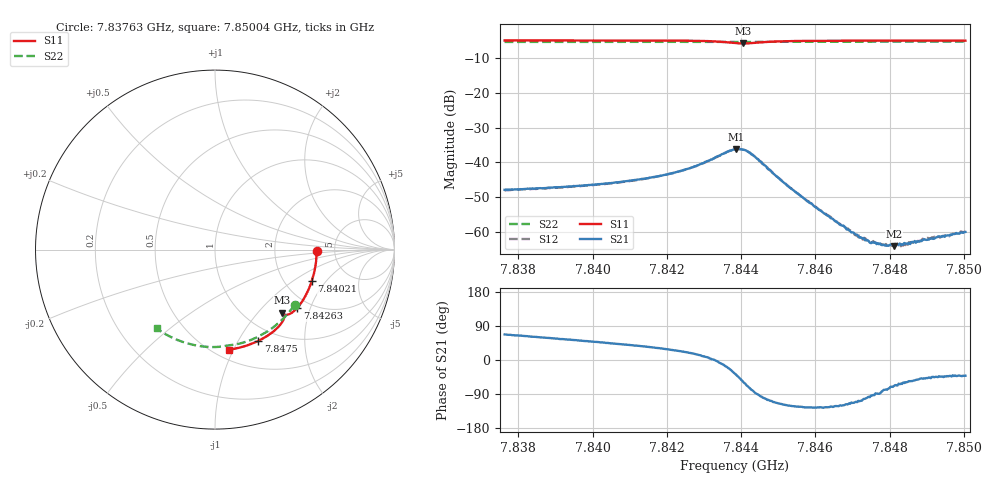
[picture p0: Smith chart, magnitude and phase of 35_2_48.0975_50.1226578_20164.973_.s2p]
#  HZ  S  RI  R  50.00
! Rohde & Schwarz Vector Network Analyzer
! Rohde-Schwarz,ZNB20-2Port,1311601062101988,3.16
! Created: UTC 12/23/2023, 3:38:09 AM
! freq[Hz]  re:S11  im:S11  re:S21  im:S21  re:S12  im:S12  re:S22  im:S22
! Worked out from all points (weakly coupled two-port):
!   401 points, 7.83763 GHz to 7.85004 GHz, reference 50 ohm
!   highest |S21| = -36.13 dB at 7.84387 GHz (marker M1); lowest = -64.1 dB at 7.84812 GHz (marker M2)
!   lowest |S11| = -5.8 dB at 7.84405 GHz (marker M3), VSWR 3.11, Z = 71.6 - j68.2 ohm
!   |S11| at or under -10 dB: nowhere
!   |S22| runs from -5.4 to -5.3 dB; largest |S21 - S12| = 0.00037
!   S11 on the Smith chart (normalised r, x): 7.83763 GHz: 3.61, -0.08; 7.84021 GHz: 2.78, -1.45; 7.84263 GHz: 1.71, -1.63; 7.8475 GHz: 0.82, -1.22; 7.85004 GHz: 0.59, -0.96
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7.837632e9  0.5666 -0.00729  0.00155 0.00372  0.00156 0.00363  0.4435 -0.3079
7.839711e9  0.5485 -0.1444  0.00291 0.00357  0.00286 0.00356  0.3459 -0.4156
7.840207e9  0.5388 -0.1765  0.00334 0.00353  0.00331 0.00352  0.3185 -0.4373
7.84179e9  0.4938 -0.2757  0.00542 0.0033  0.0054 0.0033  0.2228 -0.4935
7.842628e9  0.4578 -0.3253  0.00783 0.00263  0.00783 0.00263  0.1679 -0.5149
7.843372e9  0.4103 -0.361  0.0122 -0.000854  0.0121 -0.000806  0.1171 -0.5278
7.843838e9  0.3766 -0.359  0.0123 -0.00906  0.0124 -0.00915  0.086 -0.5322
7.843869e9  0.3753 -0.3579  0.0121 -0.00983  0.012 -0.00977  0.0838 -0.5326
7.844055e9  0.3743 -0.3508  0.00818 -0.0128  0.00838 -0.0127  0.0723 -0.5341
7.844179e9  0.3779 -0.35  0.00509 -0.0133  0.00511 -0.0134  0.0646 -0.5354
7.844365e9  0.3843 -0.3562  0.000961 -0.0122  0.00108 -0.012  0.0525 -0.5378
7.845234e9  0.3668 -0.415  -0.00229 -0.0041  -0.00232 -0.00413  -0.00833 -0.5428
7.845917e9  0.3322 -0.4504  -0.00145 -0.00205  -0.00146 -0.00203  -0.0566 -0.5407
7.84663e9  0.292 -0.48  -0.000699 -0.00112  -0.00069 -0.00114  -0.1064 -0.5337
7.847096e9  0.2645 -0.4964  -0.000317 -0.000857  -0.000315 -0.000831  -0.1384 -0.5267
7.847499e9  0.2402 -0.5089  -4.66e-05 -0.000686  -8.26e-05 -0.000716  -0.1656 -0.5189
7.847996e9  0.2097 -0.5225  0.000172 -0.000618  0.000191 -0.000604  -0.1985 -0.5077
7.84812e9  0.202 -0.5256  0.000226 -0.000582  0.000221 -0.00062  -0.2066 -0.5044
7.848213e9  0.1962 -0.5279  0.00025 -0.000605  0.000266 -0.00062  -0.2128 -0.5022
7.848368e9  0.1863 -0.5313  0.000338 -0.000572  0.000291 -0.000562  -0.2226 -0.4979
7.848958e9  0.1487 -0.5431  0.000512 -0.000585  0.000544 -0.000603  -0.26 -0.4797
7.850044e9  0.0777 -0.5573  0.000745 -0.000659  0.00074 -0.000684  -0.3246 -0.4393
